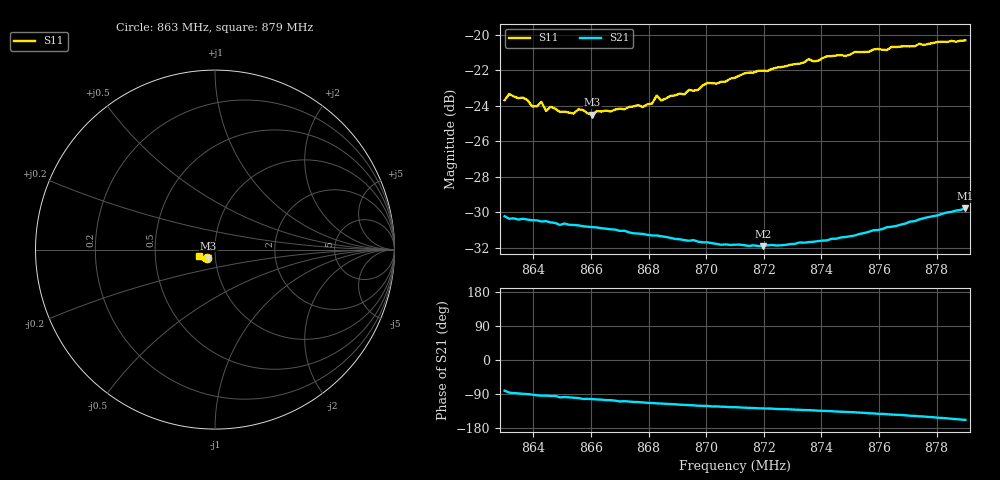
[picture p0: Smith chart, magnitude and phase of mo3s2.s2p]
# HZ S RI R 50
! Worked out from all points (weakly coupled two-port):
!   101 points, 863 MHz to 879 MHz, reference 50 ohm
!   highest |S21| = -29.77 dB at 879 MHz (marker M1); lowest = -31.9 dB at 871.96 MHz (marker M2)
!   lowest |S11| = -24.5 dB at 866.04 MHz (marker M3), VSWR 1.13, Z = 46.3 - j4.35 ohm
!   |S11| at or under -10 dB: start of sweep to end of sweep
!   S12 and S22 are empty: the file has one direction only
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8.63e8  -0.0461 -0.0464  0.0048 -0.0304  0 0  0 0
8.6316e8  -0.05 -0.0462  0.00204 -0.0302  0 0  0 0
8.6364e8  -0.0483 -0.0457  0.000441 -0.0303  0 0  0 0
8.6396e8  -0.0446 -0.0443  -0.000709 -0.03  0 0  0 0
8.6428e8  -0.0455 -0.0459  -0.00209 -0.0297  0 0  0 0
8.6444e8  -0.0429 -0.0434  -0.00205 -0.0298  0 0  0 0
8.646e8  -0.0436 -0.045  -0.00247 -0.0295  0 0  0 0
8.654e8  -0.039 -0.0456  -0.00481 -0.0287  0 0  0 0
8.6572e8  -0.0403 -0.0463  -0.0064 -0.0282  0 0  0 0
8.6604e8  -0.0367 -0.0468  -0.00654 -0.0279  0 0  0 0
8.678e8  -0.0366 -0.0508  -0.0103 -0.0255  0 0  0 0
8.6812e8  -0.0369 -0.0522  -0.0109 -0.0249  0 0  0 0
8.6828e8  -0.0395 -0.0547  -0.0112 -0.0248  0 0  0 0
8.6844e8  -0.0372 -0.0536  -0.0114 -0.0245  0 0  0 0
8.6972e8  -0.0397 -0.0576  -0.0133 -0.0225  0 0  0 0
8.7004e8  -0.043 -0.0592  -0.0134 -0.0223  0 0  0 0
8.71e8  -0.0464 -0.0598  -0.0145 -0.0211  0 0  0 0
8.7196e8  -0.0515 -0.0602  -0.0155 -0.0201  0 0  0 0
8.7356e8  -0.0616 -0.0592  -0.0176 -0.0192  0 0  0 0
8.7372e8  -0.0597 -0.0593  -0.0178 -0.0191  0 0  0 0
8.7644e8  -0.0785 -0.0489  -0.0233 -0.0169  0 0  0 0
8.79e8  -0.0905 -0.0331  -0.0301 -0.0122  0 0  0 0
